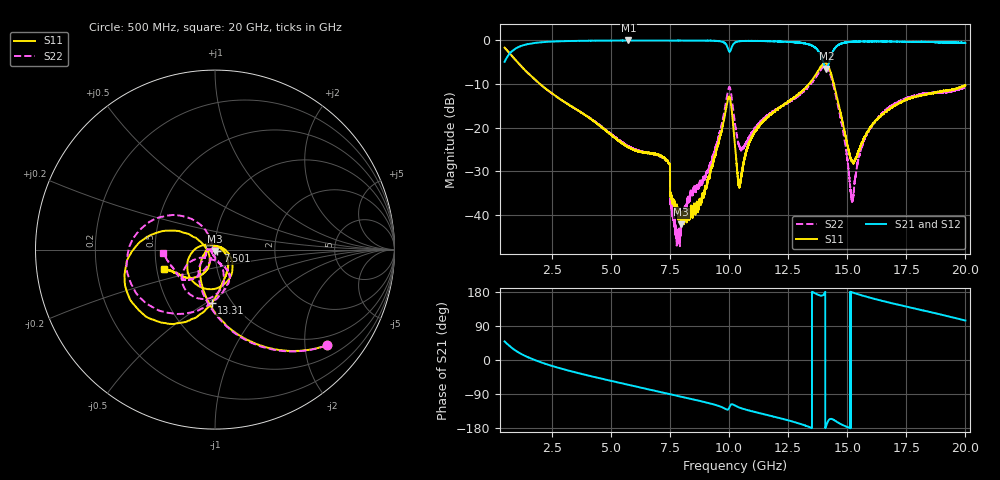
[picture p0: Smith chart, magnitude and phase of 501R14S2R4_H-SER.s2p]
!{501R14S2R4}
!Johanson Technology Inc.
!www.johansontechnology.com
!Test Board Conditions:
!Substrate Type  RO4350B
!Substrate Thickness  20 mil
!Substrate Dk  3.66
!TL Type: GCPW
!TL Trace Width  36 mil
!TL Gap  12 mil
!Electrode orientation  Horizontal
!DUT TOPOLOGY	SERIES
!Mounting Pad LxW  26x36 mil
! Created Wed Mar 11 15:57:46 2020
# mhz S ma R 50
! 2 Port Network Data from SP1.SP block
! freq  magS11  angS11  magS21  angS21  magS12  angS12  magS22  angS22
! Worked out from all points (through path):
!   19501 points, 500 MHz to 20 GHz, reference 50 ohm
!   highest |S21| = -0.07 dB at 5.738 GHz (marker M1); lowest = -6.5 dB at 14.12 GHz (marker M2)
!   group delay of S21, straight-line fit = 38.1 ps
!   lowest |S11| = -42.2 dB at 7.967 GHz (marker M3), VSWR 1.02, Z = 49.7 - j0.727 ohm
!   |S11| at or under -10 dB: 1.991 GHz to 13.39 GHz (11.4 GHz wide, 148 % of centre); 14.43 GHz to end of sweep
!   |S22| runs from -47.1 to -1.7 dB; largest |S21 - S12| = 0.02
!   S11 on the Smith chart (normalised r, x): 500 MHz: 0.77, -2.51; 7.501 GHz: 1.03, -0.02; 13.31 GHz: 0.81, -0.53; 20 GHz: 0.55, -0.13
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500  0.8202 -40.5  0.5661 49.1  0.5668 49.1  0.8191 -40.6
1641  0.3841 -86.0  0.916 3.4  0.9163 3.4  0.3845 -86.5
3750  0.1484 -124.5  0.9822 -36.6  0.9816 -36.6  0.1481 -128.0
5738  0.05943 -160.7  0.9922 -65.4  0.9913 -65.5  0.06146 -147.5
7000  0.04928 -168.5  0.99 -83.2  0.9907 -83.2  0.04911 -174.2
7403  0.04142 -170.2  0.9905 -88.8  0.9905 -88.8  0.04133 -179.9
7501  0.0166 -36.3  0.9912 -90.2  0.9908 -90.2  0.01383 19.9
7743  0.01105 -71.7  0.9906 -93.5  0.9917 -93.5  0.00691 63.4
7967  0.007797 -110.4  0.9901 -96.7  0.9901 -96.6  0.008081 130.5
8880  0.01673 79.3  0.9871 -109.8  0.9874 -109.8  0.02487 -134.6
9973  0.2207 -91.9  0.7754 -129.6  0.7744 -129.5  0.2779 -98.6
10250  0.06268 154.5  0.9386 -120.4  0.9376 -120.4  0.1103 -153.4
10457  0.02225 52.3  0.9732 -126.0  0.9708 -126.0  0.05926 -122.6
11155  0.09391 -40.8  0.9784 -138.2  0.9779 -138.2  0.1018 -62.6
13308  0.2993 -93.7  0.9047 -174.9  0.9069 -175.0  0.2832 -91.0
13500  0.3461 -99.5  0.8681 -179.8  0.8744 179.9  0.3279 -100.3
14119  0.5413 -157.0  0.4706 -172.0  0.474 -172.6  0.4975 -171.5
14442  0.3086 160.3  0.7835 -158.5  0.7834 -158.6  0.2807 137.1
15200  0.04141 -167.8  0.958 178.6  0.9581 178.6  0.01518 -178.8
15750  0.0791 -112.0  0.9668 168.1  0.9691 168.2  0.07471 -112.2
16750  0.1592 -118.4  0.9681 152.0  0.9636 151.9  0.1697 -121.4
20000  0.3032 -159.7  0.9262 104.2  0.9244 104.5  0.2884 -176.5
